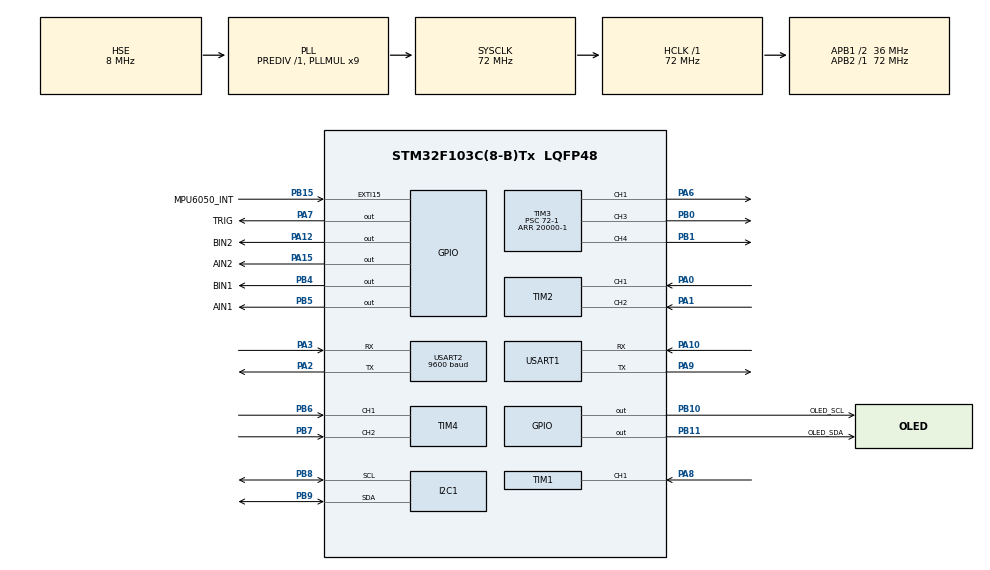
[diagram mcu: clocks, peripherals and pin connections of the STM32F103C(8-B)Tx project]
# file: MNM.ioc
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I2C1.I2C_Mode=I2C_Standard
Mcu.Family=STM32F1
Mcu.Name=STM32F103C(8-B)Tx
Mcu.Package=LQFP48
NVIC.PriorityGroup=NVIC_PRIORITYGROUP_4
NVIC.TIM1_CC_IRQn=true\:0\:0\:false\:false\:true\:true\:true\:true
NVIC.TIM2_IRQn=true\:0\:0\:false\:false\:true\:true\:true\:true
NVIC.TIM4_IRQn=true\:0\:0\:false\:false\:true\:true\:true\:true
NVIC.USART1_IRQn=true\:0\:0\:false\:false\:true\:true\:true\:true
NVIC.USART2_IRQn=true\:0\:0\:false\:false\:true\:true\:true\:true
PA0-WKUP.Signal=S_TIM2_CH1_ETR
PA1.Signal=S_TIM2_CH2
PA10.Mode=Asynchronous
PA10.Signal=USART1_RX
PA12.GPIO_Label=BIN2
PA12.Signal=GPIO_Output
PA13.Mode=Serial_Wire
PA13.Signal=SYS_JTMS-SWDIO
PA14.Mode=Serial_Wire
PA14.Signal=SYS_JTCK-SWCLK
PA15.GPIO_Label=AIN2
PA15.Signal=GPIO_Output
PA2.Mode=Asynchronous
PA2.Signal=USART2_TX
PA3.Mode=Asynchronous
PA3.Signal=USART2_RX
PA6.Signal=S_TIM3_CH1
PA7.GPIO_Label=TRIG
PA7.Signal=GPIO_Output
PA8.Signal=S_TIM1_CH1
PA9.Mode=Asynchronous
PA9.Signal=USART1_TX
PB0.Signal=S_TIM3_CH3
PB1.Signal=S_TIM3_CH4
PB10.GPIO_Label=OLED_SCL
PB10.Signal=GPIO_Output
PB11.GPIO_Label=OLED_SDA
PB11.Signal=GPIO_Output
PB15.GPIO_Label=MPU6050_INT
PB15.Signal=GPXTI15
PB4.GPIO_Label=BIN1
PB4.Signal=GPIO_Output
PB5.GPIO_Label=AIN1
PB5.Signal=GPIO_Output
PB6.Signal=S_TIM4_CH1
PB7.Signal=S_TIM4_CH2
PB8.Mode=I2C
PB8.Signal=I2C1_SCL
PB9.Mode=I2C
PB9.Signal=I2C1_SDA
PD0-OSC_IN.Mode=HSE-External-Oscillator
PD0-OSC_IN.Signal=RCC_OSC_IN
PD1-OSC_OUT.Mode=HSE-External-Oscillator
PD1-OSC_OUT.Signal=RCC_OSC_OUT
ProjectManager.HeapSize=0x200
ProjectManager.StackSize=0x400
ProjectManager.TargetToolchain=MDK-ARM V5.32
RCC.AHBFreq_Value=72000000
RCC.APB1CLKDivider=RCC_HCLK_DIV2
RCC.APB1Freq_Value=36000000
RCC.APB1TimFreq_Value=72000000
RCC.APB2Freq_Value=72000000
RCC.APB2TimFreq_Value=72000000
RCC.HCLKFreq_Value=72000000
RCC.PLLMUL=RCC_PLL_MUL9
RCC.PLLSourceVirtual=RCC_PLLSOURCE_HSE
RCC.SYSCLKFreq_VALUE=72000000
RCC.SYSCLKSource=RCC_SYSCLKSOURCE_PLLCLK
RCC.USBFreq_Value=72000000
SH.S_TIM1_CH1.0=TIM1_CH1,Input_Capture1_from_TI1
SH.S_TIM2_CH1_ETR.0=TIM2_CH1,Encoder_Interface
SH.S_TIM2_CH2.0=TIM2_CH2,Encoder_Interface
SH.S_TIM3_CH1.0=TIM3_CH1,PWM Generation1 CH1
SH.S_TIM3_CH3.0=TIM3_CH3,PWM Generation3 CH3
SH.S_TIM3_CH4.0=TIM3_CH4,PWM Generation4 CH4
SH.S_TIM4_CH1.0=TIM4_CH1,Encoder_Interface
SH.S_TIM4_CH2.0=TIM4_CH2,Encoder_Interface
TIM1.Channel-Input_Capture1_from_TI1=TIM_CHANNEL_1
TIM1.Prescaler=72-1
TIM3.Channel-PWM\ Generation1\ CH1=TIM_CHANNEL_1
TIM3.Channel-PWM\ Generation3\ CH3=TIM_CHANNEL_3
TIM3.Channel-PWM\ Generation4\ CH4=TIM_CHANNEL_4
TIM3.Period=20000-1
TIM3.Prescaler=72-1
USART1.VirtualMode=VM_ASYNC
USART2.BaudRate=9600
USART2.VirtualMode=VM_ASYNC
board=custom

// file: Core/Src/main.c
/* USER CODE BEGIN Header */
/**
  ******************************************************************************
  * @file           : main.c
  * @brief          : Main program body
  ******************************************************************************
  * @attention
  *
  * Copyright (c) 2024 STMicroelectronics.
  * All rights reserved.
  *
  * This software is licensed under terms that can be found in the LICENSE file
  * in the root directory of this software component.
  * If no LICENSE file comes with this software, it is provided AS-IS.
  *
  ******************************************************************************
  */
/* USER CODE END Header */
#include "main.h"
#include "i2c.h"
#include "tim.h"
#include "usart.h"
#include "gpio.h"

/* USER CODE BEGIN Includes */
#include "oled.h"
#include "openmv.h"
#include "hcsr04.h"
#include "mpu6050.h"
#include "stdio.h"
#include "motor.h"
#include "stdbool.h"
/* USER CODE END Includes */

/* USER CODE BEGIN PTD */
extern int openmv_x;
extern uint8_t openmv_rxbuffer[2];
extern uint8_t bluetooth_rxbuffer;
int x=1;
int flag,xflag ;
short SpeedL,SpeedR = 0;
int expectspeed = 200;
char letters[] = "CGSJ*";
int number1[3];
int number2[18];
short encoder[2];
float pid[5];
static int degree;
/* USER CODE END PTD */

/* USER CODE BEGIN PD */
int fputc(int ch, FILE *f)
{
uint8_t temp[1] = {ch};
HAL_UART_Transmit(&huart2, temp, 1, 2);//huart1需要根据你的配置修改
return ch;
}
int fgetc(FILE *f)
{
  uint8_t ch = 0;
  HAL_UART_Receive(&huart2, &ch, 1, 0xffff);
  return ch;
}
/* USER CODE END PD */

/* USER CODE BEGIN PV */
MPU6050_t MPU6050;

/* USER CODE END PV */

void SystemClock_Config(void);

int main(void)
{

  /* MCU Configuration--------------------------------------------------------*/

  /* Reset of all peripherals, Initializes the Flash interface and the Systick. */
  HAL_Init();

  /* Configure the system clock */
  SystemClock_Config();

  /* Initialize all configured peripherals */
  MX_GPIO_Init();
  MX_USART1_UART_Init();
  MX_TIM1_Init();
  MX_TIM3_Init();
  MX_USART2_UART_Init();
  MX_TIM2_Init();
  MX_TIM4_Init();
  MX_I2C1_Init();
  /* USER CODE BEGIN 2 */
HAL_TIM_Encoder_Start(&htim2,TIM_CHANNEL_ALL);
HAL_TIM_Encoder_Start(&htim4,TIM_CHANNEL_ALL);
HAL_TIM_IC_Start_IT(&htim1,TIM_CHANNEL_1);
HAL_TIM_Base_Start_IT(&htim3);  									//
HAL_TIM_PWM_Start(&htim3,TIM_CHANNEL_1);
HAL_TIM_PWM_Start(&htim3,TIM_CHANNEL_3);
HAL_TIM_PWM_Start(&htim3,TIM_CHANNEL_4);
OLED_Init();
OLED_Clear();
OPENMV_INIT();
HAL_UART_Receive_IT(&huart2,&bluetooth_rxbuffer,1);
HAL_UART_Receive_IT(OPENMV_UART, openmv_rxbuffer, 2);
while (MPU6050_Init(&hi2c1) == 1);
  /* USER CODE END 2 */

  /* Infinite loop */
  /* USER CODE BEGIN WHILE */
  while (1)
  {
GetEncoderValue(&SpeedL,&SpeedR);
HCSR04_Read();
OLED_ShowString(2,3,"d:");
OLED_ShowNum(2,5,Distance,3);
OLED_ShowString(3,1,"SL:");
OLED_ShowString(4,1,"SR:");
OLED_ShowSignedNum(3,4,SpeedL,3);
OLED_ShowSignedNum(4,4,SpeedR,3);
OLED_ShowSignedNum(1,1,openmv_x,3);
MPU6050_Read_All(&hi2c1, &MPU6050);
MPU6050_Read_Accel(&hi2c1, &MPU6050);
MPU6050_Read_Gyro(&hi2c1, &MPU6050);
MPU6050_Read_Temp(&hi2c1, &MPU6050);

HAL_Delay(200);
if(xflag==1)
{
xun(openmv_x);
}

if(bluetooth_rxbuffer == 'f')
{
	flag = 1;
	HAL_UART_Receive_IT(&huart2,&bluetooth_rxbuffer,1);
}

if(bluetooth_rxbuffer == 'g')
{
	flag = 0;
	HAL_UART_Receive_IT(&huart2,&bluetooth_rxbuffer,1);
}

if(bluetooth_rxbuffer == 'u')
{
	x=1;
	HAL_UART_Receive_IT(&huart2,&bluetooth_rxbuffer,1);
}

if(bluetooth_rxbuffer == 'o')
{
	x=2;
	HAL_UART_Receive_IT(&huart2,&bluetooth_rxbuffer,1);
}

if(bluetooth_rxbuffer == 'k')
{
	x=3;
	HAL_UART_Receive_IT(&huart2,&bluetooth_rxbuffer,1);
}

if(bluetooth_rxbuffer == 'w')
{MotorControl(MotorLeft,3500*x);
  MotorControl(MotorRight,3500*x);

	HAL_UART_Receive_IT(&huart2,&bluetooth_rxbuffer,1);
OLED_ShowString(2,1,&bluetooth_rxbuffer);}

else if(bluetooth_rxbuffer == 's')
{ MotorControl(MotorLeft,-3500*x);
  MotorControl(MotorRight,-3500*x);

	HAL_UART_Receive_IT(&huart2,&bluetooth_rxbuffer,1);
OLED_ShowString(2,1,&bluetooth_rxbuffer);}

else if(bluetooth_rxbuffer == 'd')
{;
	__HAL_TIM_SetCompare(&htim3,TIM_CHANNEL_1,2000);
	HAL_UART_Receive_IT(&huart2,&bluetooth_rxbuffer,1);
OLED_ShowString(2,1,&bluetooth_rxbuffer);}

else if(bluetooth_rxbuffer == 'z')
{
__HAL_TIM_SetCompare(&htim3,TIM_CHANNEL_1,1500);
	HAL_UART_Receive_IT(&huart2,&bluetooth_rxbuffer,1);
}

else if(bluetooth_rxbuffer == 'a')
{
	__HAL_TIM_SetCompare(&htim3,TIM_CHANNEL_1,1000);
	HAL_UART_Receive_IT(&huart2,&bluetooth_rxbuffer,1);
OLED_ShowString(2,1,&bluetooth_rxbuffer);}

else if(bluetooth_rxbuffer == 'p')
{MotorControl(MotorLeft,0);
  MotorControl(MotorRight,0);
	__HAL_TIM_SetCompare(&htim3,TIM_CHANNEL_1,1500);
	HAL_UART_Receive_IT(&huart2,&bluetooth_rxbuffer,1);
OLED_ShowString(2,1,&bluetooth_rxbuffer);}
else if(bluetooth_rxbuffer == 'x')
{
	if (xflag==0)xflag=1;
	else xflag=0;
		HAL_UART_Receive_IT(&huart2,&bluetooth_rxbuffer,1);
}

if(flag == 1)
{
if(Distance<20)
{
	MotorControl(MotorLeft,-5000);
  MotorControl(MotorRight,-5000);
	HAL_Delay(50);
		MotorControl(MotorLeft,0);
  MotorControl(MotorRight,0);
}
}

//赋值
number1[0] = 114;//车辆编号
number1[1] = 514;//运行次数
number1[2] = 114;//控制周期
encoder[0] = SpeedL;//左编码器
encoder[1] = SpeedR;//右编码器
number2[0] = 114;//左电机控制量
number2[1] = 514;//右电机控制量
number2[2] = 114;//左电机目标
number2[3] = 514;//右电机目标
number2[4] = degree;//舵机控制量
number2[5] = openmv_x;//偏离中心量
number2[6] = 19;//左电感值
number2[7] = 19;//中电感值
number2[8] = 810;//右电感值
number2[9] = MPU6050.Ax;//加速度X
number2[10] = MPU6050.Ay;//加速度y
number2[11] = MPU6050.Az;//加速度z
number2[12] = MPU6050.Gx;//陀螺仪X
number2[13] = MPU6050.Gy;//陀螺仪y
number2[14] = MPU6050.Gz;//陀螺仪z
number2[15] = 19;//磁力计X
number2[16] = 19;//磁力计y
number2[17] = 810;//磁力计z
pid[0] = 0.1;//舵机p
pid[1] = 0.1;//舵机i
pid[2] = 0.1;//舵机d
pid[3] = 0.1;//电机p
pid[4] = 0.1;//电机i
pid[5] = 0.1;//电机d
int spd = 3500*x;//速度

printf("%s", letters);
printf("%d,",number1[0]);
printf("%d,",number1[1]);
printf("%d,",number1[2]);
printf("%d,",encoder[0]);
printf("%d,",encoder[1]);
printf("%d,",number2[0]);
printf("%d,",number2[1]);
printf("%d,",number2[2]);
printf("%d,",number2[3]);
printf("%d,",number2[4]);
printf("%d,",number2[5]);
printf("%d,",number2[6]);
printf("%d,",number2[7]);
printf("%d,",number2[8]);
printf("%d,",number2[9]);
printf("%d,",number2[10]);
printf("%d,",number2[11]);
printf("%d,",number2[12]);
printf("%d,",number2[13]);
printf("%d,",number2[14]);
printf("%d,",number2[15]);
printf("%d,",number2[16]);
printf("%d,",number2[17]);
printf("%0.1f,",pid[0]);
printf("%0.1f,",pid[1]);
printf("%0.1f,",pid[2]);
printf("%0.1f,",pid[3]);
printf("%0.1f,",pid[4]);
printf("%0.1f,",pid[5]);
printf("%d", spd);
printf("0,");
printf("0,");
printf("<");

    /* USER CODE END WHILE */

  }
}

void SystemClock_Config(void)
{
  RCC_OscInitTypeDef RCC_OscInitStruct = {0};
  RCC_ClkInitTypeDef RCC_ClkInitStruct = {0};

  /** Initializes the RCC Oscillators according to the specified parameters
  * in the RCC_OscInitTypeDef structure.
  */
  RCC_OscInitStruct.OscillatorType = RCC_OSCILLATORTYPE_HSE;
  RCC_OscInitStruct.HSEState = RCC_HSE_ON;
  RCC_OscInitStruct.HSEPredivValue = RCC_HSE_PREDIV_DIV1;
  RCC_OscInitStruct.HSIState = RCC_HSI_ON;
  RCC_OscInitStruct.PLL.PLLState = RCC_PLL_ON;
  RCC_OscInitStruct.PLL.PLLSource = RCC_PLLSOURCE_HSE;
  RCC_OscInitStruct.PLL.PLLMUL = RCC_PLL_MUL9;
  if (HAL_RCC_OscConfig(&RCC_OscInitStruct) != HAL_OK)
  {
    Error_Handler();
  }

  /** Initializes the CPU, AHB and APB buses clocks
  */
  RCC_ClkInitStruct.ClockType = RCC_CLOCKTYPE_HCLK|RCC_CLOCKTYPE_SYSCLK
                              |RCC_CLOCKTYPE_PCLK1|RCC_CLOCKTYPE_PCLK2;
  RCC_ClkInitStruct.SYSCLKSource = RCC_SYSCLKSOURCE_PLLCLK;
  RCC_ClkInitStruct.AHBCLKDivider = RCC_SYSCLK_DIV1;
  RCC_ClkInitStruct.APB1CLKDivider = RCC_HCLK_DIV2;
  RCC_ClkInitStruct.APB2CLKDivider = RCC_HCLK_DIV1;

  if (HAL_RCC_ClockConfig(&RCC_ClkInitStruct, FLASH_LATENCY_2) != HAL_OK)
  {
    Error_Handler();
  }
}

void Error_Handler(void)
{
  __disable_irq();
  while (1)
  {
  }
}
